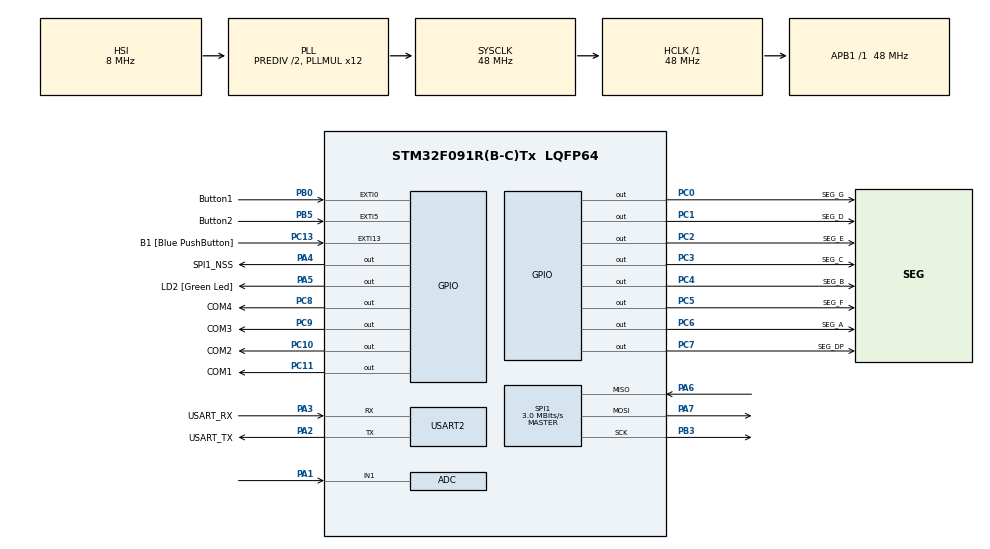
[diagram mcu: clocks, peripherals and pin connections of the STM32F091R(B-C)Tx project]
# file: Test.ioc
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ADC.ClockPrescaler=ADC_CLOCK_ASYNC_DIV1
ADC.DMAContinuousRequests=ENABLE
ADC.EOCSelection=ADC_EOC_SINGLE_CONV
ADC.ExternalTrigConv=ADC_SOFTWARE_START
ADC.SamplingTime=ADC_SAMPLETIME_7CYCLES_5
Dma.ADC.4.Direction=DMA_PERIPH_TO_MEMORY
Dma.ADC.4.Instance=DMA2_Channel5
Dma.ADC.4.MemDataAlignment=DMA_MDATAALIGN_HALFWORD
Dma.ADC.4.MemInc=DMA_MINC_ENABLE
Dma.ADC.4.Mode=DMA_CIRCULAR
Dma.ADC.4.PeriphDataAlignment=DMA_PDATAALIGN_HALFWORD
Dma.ADC.4.PeriphInc=DMA_PINC_DISABLE
Dma.ADC.4.Priority=DMA_PRIORITY_LOW
Dma.Request0=SPI1_RX
Dma.Request1=SPI1_TX
Dma.Request2=USART2_RX
Dma.Request3=USART2_TX
Dma.Request4=ADC
Dma.SPI1_RX.0.Direction=DMA_PERIPH_TO_MEMORY
Dma.SPI1_RX.0.Instance=DMA1_Channel2
Dma.SPI1_RX.0.MemDataAlignment=DMA_MDATAALIGN_BYTE
Dma.SPI1_RX.0.MemInc=DMA_MINC_ENABLE
Dma.SPI1_RX.0.Mode=DMA_NORMAL
Dma.SPI1_RX.0.PeriphDataAlignment=DMA_PDATAALIGN_BYTE
Dma.SPI1_RX.0.PeriphInc=DMA_PINC_DISABLE
Dma.SPI1_RX.0.Priority=DMA_PRIORITY_MEDIUM
Dma.SPI1_TX.1.Direction=DMA_MEMORY_TO_PERIPH
Dma.SPI1_TX.1.Instance=DMA1_Channel3
Dma.SPI1_TX.1.MemDataAlignment=DMA_MDATAALIGN_BYTE
Dma.SPI1_TX.1.MemInc=DMA_MINC_ENABLE
Dma.SPI1_TX.1.Mode=DMA_NORMAL
Dma.SPI1_TX.1.PeriphDataAlignment=DMA_PDATAALIGN_BYTE
Dma.SPI1_TX.1.PeriphInc=DMA_PINC_DISABLE
Dma.SPI1_TX.1.Priority=DMA_PRIORITY_MEDIUM
Dma.USART2_RX.2.Direction=DMA_PERIPH_TO_MEMORY
Dma.USART2_RX.2.Instance=DMA1_Channel1
Dma.USART2_RX.2.MemDataAlignment=DMA_MDATAALIGN_BYTE
Dma.USART2_RX.2.MemInc=DMA_MINC_ENABLE
Dma.USART2_RX.2.Mode=DMA_CIRCULAR
Dma.USART2_RX.2.PeriphDataAlignment=DMA_PDATAALIGN_BYTE
Dma.USART2_RX.2.PeriphInc=DMA_PINC_DISABLE
Dma.USART2_RX.2.Priority=DMA_PRIORITY_LOW
Dma.USART2_TX.3.Direction=DMA_MEMORY_TO_PERIPH
Dma.USART2_TX.3.Instance=DMA1_Channel4
Dma.USART2_TX.3.MemDataAlignment=DMA_MDATAALIGN_BYTE
Dma.USART2_TX.3.MemInc=DMA_MINC_ENABLE
Dma.USART2_TX.3.Mode=DMA_CIRCULAR
Dma.USART2_TX.3.PeriphDataAlignment=DMA_PDATAALIGN_BYTE
Dma.USART2_TX.3.PeriphInc=DMA_PINC_DISABLE
Dma.USART2_TX.3.Priority=DMA_PRIORITY_LOW
Mcu.Family=STM32F0
Mcu.Name=STM32F091R(B-C)Tx
Mcu.Package=LQFP64
NVIC.DMA1_Ch1_IRQn=true\:0\:0\:false\:false\:true\:false\:true\:true
NVIC.DMA1_Ch2_3_DMA2_Ch1_2_IRQn=true\:0\:0\:false\:false\:true\:false\:true\:true
NVIC.DMA1_Ch4_7_DMA2_Ch3_5_IRQn=true\:0\:0\:false\:false\:true\:false\:true\:true
NVIC.EXTI0_1_IRQn=true\:0\:0\:false\:false\:true\:true\:true\:true
NVIC.EXTI4_15_IRQn=true\:0\:0\:false\:false\:true\:true\:true\:true
NVIC.TIM16_IRQn=true\:0\:0\:false\:false\:true\:true\:true\:true
PA1.Mode=IN1
PA1.Signal=ADC_IN1
PA13.GPIO_Label=TMS
PA13.Mode=Serial_Wire
PA13.Signal=SYS_SWDIO
PA14.GPIO_Label=TCK
PA14.Mode=Serial_Wire
PA14.Signal=SYS_SWCLK
PA2.GPIO_Label=USART_TX
PA2.GPIO_Mode=GPIO_MODE_AF_PP
PA2.GPIO_PuPd=GPIO_NOPULL
PA2.GPIO_Speed=GPIO_SPEED_FREQ_LOW
PA2.Mode=Asynchronous
PA2.Signal=USART2_TX
PA3.GPIO_Label=USART_RX
PA3.GPIO_Mode=GPIO_MODE_AF_PP
PA3.GPIO_PuPd=GPIO_NOPULL
PA3.GPIO_Speed=GPIO_SPEED_FREQ_LOW
PA3.Mode=Asynchronous
PA3.Signal=USART2_RX
PA4.GPIO_Label=SPI1_NSS
PA4.Signal=GPIO_Output
PA5.GPIO_Label=LD2 [Green Led]
PA5.GPIO_Mode=GPIO_MODE_OUTPUT_PP
PA5.GPIO_PuPd=GPIO_NOPULL
PA5.GPIO_Speed=GPIO_SPEED_FREQ_LOW
PA5.Signal=GPIO_Output
PA6.Mode=Full_Duplex_Master
PA6.Signal=SPI1_MISO
PA7.Mode=Full_Duplex_Master
PA7.Signal=SPI1_MOSI
PB0.GPIO_Label=Button1
PB0.GPIO_PuPd=GPIO_PULLUP
PB0.Signal=GPXTI0
PB3.Mode=Full_Duplex_Master
PB3.Signal=SPI1_SCK
PB5.GPIO_Label=Button2
PB5.GPIO_PuPd=GPIO_PULLUP
PB5.Signal=GPXTI5
PC0.GPIO_Label=SEG_G
PC0.Signal=GPIO_Output
PC1.GPIO_Label=SEG_D
PC1.Signal=GPIO_Output
PC10.GPIO_Label=COM2
PC10.Signal=GPIO_Output
PC11.GPIO_Label=COM1
PC11.Signal=GPIO_Output
PC13.GPIO_Label=B1 [Blue PushButton]
PC13.GPIO_ModeDefaultEXTI=GPIO_MODE_IT_FALLING
PC13.Signal=GPXTI13
PC14OSC32_IN.Mode=LSE-External-Oscillator
PC14OSC32_IN.Signal=RCC_OSC32_IN
PC15OSC32_OUT.Mode=LSE-External-Oscillator
PC15OSC32_OUT.Signal=RCC_OSC32_OUT
PC2.GPIO_Label=SEG_E
PC2.Signal=GPIO_Output
PC3.GPIO_Label=SEG_C
PC3.Signal=GPIO_Output
PC4.GPIO_Label=SEG_B
PC4.Signal=GPIO_Output
PC5.GPIO_Label=SEG_F
PC5.Signal=GPIO_Output
PC6.GPIO_Label=SEG_A
PC6.Signal=GPIO_Output
PC7.GPIO_Label=SEG_DP
PC7.Signal=GPIO_Output
PC8.GPIO_Label=COM4
PC8.Signal=GPIO_Output
PC9.GPIO_Label=COM3
PC9.Signal=GPIO_Output
PF0-OSC_IN.Mode=HSE-External-Clock-Source
PF0-OSC_IN.Signal=RCC_OSC_IN
PF1-OSC_OUT.Signal=RCC_OSC_OUT
ProjectManager.HeapSize=0x200
ProjectManager.StackSize=0x400
ProjectManager.TargetToolchain=STM32CubeIDE
RCC.AHBFreq_Value=48000000
RCC.APB1Freq_Value=48000000
RCC.APB1TimFreq_Value=48000000
RCC.FLatency-AdvancedSettings=FLASH_LATENCY_1
RCC.HCLKFreq_Value=48000000
RCC.PLLDivider=RCC_PREDIV_DIV2
RCC.PLLMUL=RCC_PLL_MUL12
RCC.PREFETCH_ENABLE-AdvancedSettings=1
RCC.SYSCLKFreq_VALUE=48000000
RCC.SYSCLKSource=RCC_SYSCLKSOURCE_PLLCLK
SPI1.BaudRatePrescaler=SPI_BAUDRATEPRESCALER_16
SPI1.CLKPhase=SPI_PHASE_2EDGE
SPI1.CLKPolarity=SPI_POLARITY_HIGH
SPI1.CalculateBaudRate=3.0 MBits/s
SPI1.DataSize=SPI_DATASIZE_8BIT
SPI1.Direction=SPI_DIRECTION_2LINES
SPI1.Mode=SPI_MODE_MASTER
SPI1.VirtualType=VM_MASTER
TIM16.Period=4999
TIM16.Prescaler=47
USART2.VirtualMode=VM_ASYNC
USART2.VirtualMode-Asynchronous=VM_ASYNC
VP_TIM16_VS_ClockSourceINT.Mode=Enable_Timer
VP_TIM2_VS_ClockSourceITR.Mode=TriggerSource_ITR1
VP_TIM3_VS_ClockSourceITR.Mode=TriggerSource_ITR0
board=NUCLEO-F091RC

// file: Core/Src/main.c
/* USER CODE BEGIN Header */
/**
  ******************************************************************************
  * @file           : main.c
  * @brief          : Main program body
  ******************************************************************************
  * @attention
  *
  * Copyright (c) 2023 STMicroelectronics.
  * All rights reserved.
  *
  * This software is licensed under terms that can be found in the LICENSE file
  * in the root directory of this software component.
  * If no LICENSE file comes with this software, it is provided AS-IS.
  *
  ******************************************************************************
  */
/* USER CODE END Header */
#include "main.h"
#include "adc.h"
#include "dma.h"
#include "spi.h"
#include "tim.h"
#include "usart.h"
#include "gpio.h"

/* USER CODE BEGIN Includes */

#include <stdio.h>
#include <math.h>

/* USER CODE END Includes */

/* USER CODE BEGIN PV */

//=============================================================================
//=============================================================================

// DISPLAY

volatile uint8_t counter_timer = 1;
volatile uint8_t Menu_cnt = 0;

const uint8_t Set_number[] = {
							   0b10000001,	/* 0 */
							   0b11100111,	/* 1 */
							   0b10101000,	/* 2 */
							   0b10100100,	/* 3 */
							   0b11000110,	/* 4 */
							   0b10010100,	/* 5 */
							   0b10010000,	/* 6 */
							   0b10100111,	/* 7 */
							   0b10000000,	/* 8 */
							   0b10000100,	/* 9 */
							   0b11111111,	/* NULL */
							   0b00000000	/* FULL */
											};

// BUTTON

volatile int lastDebounceTime1 = 0;
volatile int lastDebounceTime2 = 0;
const int debounceDelay = 250;

volatile uint8_t state1 = 0;
volatile uint8_t state2 = 0;

void State_Buttons();

// MENU
void Program_1();
volatile uint8_t tx_buf[100];
volatile uint8_t rx_buf[100];
volatile uint16_t tx_buf_length;
volatile uint32_t bufferADC[1];

void Program_2(uint8_t * MEMSTxBuf, uint8_t * MEMSRxBuf);
volatile uint8_t Buffer_tx[100];
volatile uint8_t Buffer_tx_len = 0;
volatile uint8_t Mems[3];

void Program_3();

//=============================================================================
//=============================================================================

/* USER CODE END PV */

void SystemClock_Config(void);
/* USER CODE BEGIN PFP */

//=============================================================================
//=============================================================================

void Set_Sign(uint8_t count, uint8_t display_number);
void Display(int number_display, uint8_t counter_timer);

//=============================================================================
//=============================================================================

/* USER CODE END PFP */

int main(void)
{

  /* MCU Configuration--------------------------------------------------------*/

  /* Reset of all peripherals, Initializes the Flash interface and the Systick. */
  HAL_Init();

  /* Configure the system clock */
  SystemClock_Config();

  /* Initialize all configured peripherals */
  MX_GPIO_Init();
  MX_DMA_Init();
  MX_USART2_UART_Init();
  MX_TIM16_Init();
  MX_SPI1_Init();
  MX_ADC_Init();
  MX_TIM2_Init();
  MX_TIM3_Init();
  /* USER CODE BEGIN 2 */

  HAL_TIM_Base_Start_IT(&htim16);
  HAL_ADC_Start_DMA(&hadc, (uint32_t *) bufferADC, 1);

	uint8_t MEMSTxBuf[2];
	uint8_t MEMSRxBuf[2];

	MEMSTxBuf[0] = 0x00 | 0x20;
	MEMSTxBuf[1] = 0x47;

	HAL_GPIO_WritePin(SPI1_NSS_GPIO_Port, SPI1_NSS_Pin, GPIO_PIN_RESET);
	HAL_SPI_Transmit(&hspi1, MEMSTxBuf, 2, 10);
	HAL_GPIO_WritePin(SPI1_NSS_GPIO_Port, SPI1_NSS_Pin, GPIO_PIN_SET);

	uint8_t *MEMSTxBuf_ptr;
	uint8_t *MEMSRxBuf_ptr;

	MEMSTxBuf_ptr = &MEMSTxBuf;
	MEMSRxBuf_ptr = &MEMSRxBuf;

  /* USER CODE END 2 */

  /* Infinite loop */
  /* USER CODE BEGIN WHILE */
  while (1)
  {
	  State_Buttons(); // Function check button state

	  switch(Menu_cnt){
	  case 1:
		  Program_1();
		  break;
	  case 2:
		  Program_2(MEMSTxBuf_ptr, MEMSRxBuf_ptr);
		  break;
	  case 3:
		  Program_3();
		  break;
	  default:
		  break;
	  }

	  HAL_Delay(100);

    /* USER CODE END WHILE */

  }
}

void SystemClock_Config(void)
{
  RCC_OscInitTypeDef RCC_OscInitStruct = {0};
  RCC_ClkInitTypeDef RCC_ClkInitStruct = {0};
  RCC_PeriphCLKInitTypeDef PeriphClkInit = {0};

  /** Initializes the RCC Oscillators according to the specified parameters
  * in the RCC_OscInitTypeDef structure.
  */
  RCC_OscInitStruct.OscillatorType = RCC_OSCILLATORTYPE_HSI|RCC_OSCILLATORTYPE_HSI14;
  RCC_OscInitStruct.HSIState = RCC_HSI_ON;
  RCC_OscInitStruct.HSI14State = RCC_HSI14_ON;
  RCC_OscInitStruct.HSICalibrationValue = RCC_HSICALIBRATION_DEFAULT;
  RCC_OscInitStruct.HSI14CalibrationValue = 16;
  RCC_OscInitStruct.PLL.PLLState = RCC_PLL_ON;
  RCC_OscInitStruct.PLL.PLLSource = RCC_PLLSOURCE_HSI;
  RCC_OscInitStruct.PLL.PLLMUL = RCC_PLL_MUL12;
  RCC_OscInitStruct.PLL.PREDIV = RCC_PREDIV_DIV2;
  if (HAL_RCC_OscConfig(&RCC_OscInitStruct) != HAL_OK)
  {
    Error_Handler();
  }

  /** Initializes the CPU, AHB and APB buses clocks
  */
  RCC_ClkInitStruct.ClockType = RCC_CLOCKTYPE_HCLK|RCC_CLOCKTYPE_SYSCLK
                              |RCC_CLOCKTYPE_PCLK1;
  RCC_ClkInitStruct.SYSCLKSource = RCC_SYSCLKSOURCE_PLLCLK;
  RCC_ClkInitStruct.AHBCLKDivider = RCC_SYSCLK_DIV1;
  RCC_ClkInitStruct.APB1CLKDivider = RCC_HCLK_DIV1;

  if (HAL_RCC_ClockConfig(&RCC_ClkInitStruct, FLASH_LATENCY_1) != HAL_OK)
  {
    Error_Handler();
  }
  PeriphClkInit.PeriphClockSelection = RCC_PERIPHCLK_USART2;
  PeriphClkInit.Usart2ClockSelection = RCC_USART2CLKSOURCE_PCLK1;
  if (HAL_RCCEx_PeriphCLKConfig(&PeriphClkInit) != HAL_OK)
  {
    Error_Handler();
  }
}

/* USER CODE BEGIN 4 */

void Program_1(){
	HAL_ADC_Start_DMA(&hadc, bufferADC, 1);
	tx_buf_length = sprintf(tx_buf,"%d \r\n", bufferADC[0]);
	HAL_UART_Transmit(&huart2, tx_buf, tx_buf_length, 10);
}

void Program_2(uint8_t * MEMSTxBuf, uint8_t * MEMSRxBuf){
	MEMSRxBuf[0]= 0x80 | 0x29;
	MEMSRxBuf[1]= 0x00;

	HAL_GPIO_WritePin(SPI1_NSS_GPIO_Port, SPI1_NSS_Pin, GPIO_PIN_RESET);
	HAL_SPI_Receive_DMA(&hspi1, MEMSRxBuf, 2);
	HAL_GPIO_WritePin(SPI1_NSS_GPIO_Port, SPI1_NSS_Pin, GPIO_PIN_SET);
	Mems[0]= MEMSRxBuf[1];

	MEMSRxBuf[0]= 0x80 | 0x2B;
	MEMSRxBuf[1]= 0x00;

	HAL_GPIO_WritePin(SPI1_NSS_GPIO_Port, SPI1_NSS_Pin, GPIO_PIN_RESET);
	HAL_SPI_Receive_DMA(&hspi1, MEMSRxBuf, 2);
	HAL_GPIO_WritePin(SPI1_NSS_GPIO_Port, SPI1_NSS_Pin, GPIO_PIN_SET);
	Mems[1]= MEMSRxBuf[1];

	MEMSRxBuf[0]= 0x80 | 0x2D;
	MEMSRxBuf[1]= 0x00;

	HAL_GPIO_WritePin(SPI1_NSS_GPIO_Port, SPI1_NSS_Pin, GPIO_PIN_RESET);
	HAL_SPI_Receive_DMA(&hspi1, MEMSRxBuf, 2);
	HAL_GPIO_WritePin(SPI1_NSS_GPIO_Port, SPI1_NSS_Pin, GPIO_PIN_SET);
	Mems[2]= MEMSRxBuf[1];

	Buffer_tx_len = sprintf(Buffer_tx, "x: %d | y: %d | z: %d \r\n",Mems[0], Mems[1], Mems[2]);
	HAL_UART_Transmit(&huart2, Buffer_tx, Buffer_tx_len, 10);
}

void Program_3(){

}

void State_Buttons(){
	int actual = HAL_GetTick() ;
	if(state1 != 0){
		if((actual - lastDebounceTime1) > debounceDelay){
			Menu_cnt++;
			lastDebounceTime1 = 0;
			state1 = 0;
			}
		}
	if(state2 != 0){
		if((actual - lastDebounceTime2) > debounceDelay){
			Menu_cnt--;
			lastDebounceTime2 = 0;
			state2 = 0;
			}
		}
}

void HAL_GPIO_EXTI_Callback(uint16_t GPIO_Pin){
	switch( GPIO_Pin ){
		case Button2_Pin:
			state1 = 1;
			lastDebounceTime1 = HAL_GetTick();
			break;
		case Button1_Pin:
			state2 = 1;
			lastDebounceTime2 = HAL_GetTick();
			break;
		default:
			break;
		}
}

void HAL_TIM_PeriodElapsedCallback(TIM_HandleTypeDef *htim)
{
	if(htim->Instance == TIM16){

		if(Menu_cnt < 0) Menu_cnt = 0;
		if(Menu_cnt > 10) Menu_cnt = 10;

		Display(Menu_cnt,counter_timer);

		counter_timer++;
		if(counter_timer > 4){
			counter_timer = 1;
		}
	}
}

void Set_Sign(uint8_t count, uint8_t display_number){
	GPIOC -> ODR |= ~(0x0F << 8); // clear all display
	//set displayHAL_ADC_ConvCpltCallback
	GPIOC -> ODR |= (0x0F << 8);
	GPIOC -> ODR &= ((0x0F ^ (1 << (display_number -1))) << 8);
	//print sign
	GPIOC -> ODR |= (0xFF << 0);
	GPIOC -> ODR &= (~(Set_number[count])<<0);
}

void Display(int number_display, uint8_t counter_timer){
	// Devide to units count to display

	//ONLY FOR COUNT type INT FROM RANGE --- [0-9999]
	if(number_display >= 0 && number_display <= 9999){
		uint8_t sign = 10;

			//data to divide example: number_display = 1234, a = 1, b = 2, c = 3, d = 4
			uint8_t a = 10;
			uint8_t b = 10;
			uint8_t c = 10;
			uint8_t d = 10; // 10 is clear display

			//Divide:
			a = number_display / 1000;
			number_display = number_display % 1000;

			b = number_display / 100;
			number_display = number_display % 100;

			c = number_display / 10;
			number_display = number_display % 10;

			d = number_display;

			if(a == 0){
				a = 10;
				if(b == 0){
					b = 10;
					if(c == 0){
						c = 10;
						if(d == 0){
							d = 10;
						}
					}
				}
			}
			// Display is [4, 3, 2, 1] 4 - is oldest
			if(counter_timer == 1){
				sign = d;
				Set_Sign(sign, counter_timer);
			}
			if(counter_timer == 2){
				sign = c;
				Set_Sign(sign, counter_timer);
			}
			if(counter_timer == 3){
				sign = b;
				Set_Sign(sign, counter_timer);
			}
			if(counter_timer == 4){
				sign = a;
				Set_Sign(sign, counter_timer);
			}
	}
}

/* USER CODE END 4 */

void Error_Handler(void)
{
  __disable_irq();
  while (1)
  {
  }
}
